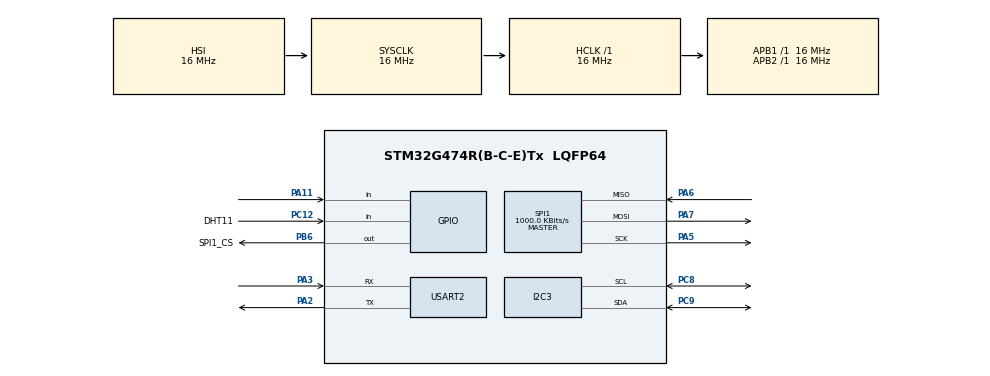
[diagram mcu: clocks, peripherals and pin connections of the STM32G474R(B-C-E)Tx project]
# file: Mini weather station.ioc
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FATFS._MAX_SS=512
I2C3.Timing=0x00503D58
Mcu.Family=STM32G4
Mcu.Name=STM32G474R(B-C-E)Tx
Mcu.Package=LQFP64
NVIC.PriorityGroup=NVIC_PRIORITYGROUP_4
PA11.Signal=GPIO_Input
PA13.Mode=Serial_Wire
PA13.Signal=SYS_JTMS-SWDIO
PA14.Mode=Serial_Wire
PA14.Signal=SYS_JTCK-SWCLK
PA2.Mode=Asynchronous
PA2.Signal=USART2_TX
PA3.Mode=Asynchronous
PA3.Signal=USART2_RX
PA5.Mode=Full_Duplex_Master
PA5.Signal=SPI1_SCK
PA6.Mode=Full_Duplex_Master
PA6.Signal=SPI1_MISO
PA7.Mode=Full_Duplex_Master
PA7.Signal=SPI1_MOSI
PB6.GPIO_Label=SPI1_CS
PB6.GPIO_PuPd=GPIO_PULLUP
PB6.PinState=GPIO_PIN_SET
PB6.Signal=GPIO_Output
PC12.GPIO_Label=DHT11
PC12.Signal=GPIO_Input
PC8.Mode=I2C
PC8.Signal=I2C3_SCL
PC9.Mode=I2C
PC9.Signal=I2C3_SDA
ProjectManager.HeapSize=0x200
ProjectManager.StackSize=0x400
ProjectManager.TargetToolchain=STM32CubeIDE
RCC.ADC12Freq_Value=16000000
RCC.ADC345Freq_Value=16000000
RCC.AHBFreq_Value=16000000
RCC.APB1Freq_Value=16000000
RCC.APB1TimFreq_Value=16000000
RCC.APB2Freq_Value=16000000
RCC.APB2TimFreq_Value=16000000
RCC.CortexFreq_Value=16000000
RCC.EXTERNAL_CLOCK_VALUE=12288000
RCC.HCLKFreq_Value=16000000
RCC.HSE_VALUE=24000000
RCC.HSI48_VALUE=48000000
RCC.HSI_VALUE=16000000
RCC.LSE_VALUE=32768
RCC.PLLM=RCC_PLLM_DIV4
RCC.PLLN=85
RCC.SYSCLKFreq_VALUE=16000000
RCC.USBFreq_Value=170000000
RCC.VCOOutputFreq_Value=340000000
SPI1.BaudRatePrescaler=SPI_BAUDRATEPRESCALER_16
SPI1.CalculateBaudRate=1000.0 KBits/s
SPI1.DataSize=SPI_DATASIZE_8BIT
SPI1.Direction=SPI_DIRECTION_2LINES
SPI1.Mode=SPI_MODE_MASTER
SPI1.VirtualType=VM_MASTER
TIM1.AutoReloadPreload=TIM_AUTORELOAD_PRELOAD_DISABLE
TIM1.Prescaler=16-1
USART2.OverSampling=UART_OVERSAMPLING_16
USART2.VirtualMode-Asynchronous=VM_ASYNC
VP_FATFS_VS_Generic.Mode=User_defined
VP_SYS_VS_DBSignals.Mode=DisableDeadBatterySignals
VP_TIM1_VS_ClockSourceINT.Mode=Internal
board=NUCLEO-G474RE

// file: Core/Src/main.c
/* USER CODE BEGIN Header */
/**
  ******************************************************************************
  * @file           : main.c
  * @brief          : Main program body
  ******************************************************************************
  * @attention
  *
  * Copyright (c) 2025 STMicroelectronics.
  * All rights reserved.
  *
  * This software is licensed under terms that can be found in the LICENSE file
  * in the root directory of this software component.
  * If no LICENSE file comes with this software, it is provided AS-IS.
  *
  ******************************************************************************
  */
/* USER CODE END Header */
#include "main.h"
#include "app_fatfs.h"

/* USER CODE BEGIN Includes */
#include <stdio.h>
#include <string.h>
#include <stdarg.h>
#include "bme280.h"
#include "Sensor_functions.h"
/* USER CODE END Includes */

I2C_HandleTypeDef hi2c3;
SPI_HandleTypeDef hspi1;
TIM_HandleTypeDef htim1;
UART_HandleTypeDef huart2;

void SystemClock_Config(void);
static void MX_GPIO_Init(void);
static void MX_SPI1_Init(void);
static void MX_USART2_UART_Init(void);
static void MX_I2C3_Init(void);
static void MX_TIM1_Init(void);
/* USER CODE BEGIN PFP */
BYTE readBuf[30];
float temperature, humidity, pressure;
struct bme280_dev dev;
struct bme280_data comp_data;
int8_t rslt;
char hum_string[50];
char temp_string[50];
char press_string[50];
char hum_DHT11_string[50];
char temp_DHT11_string[50];
uint8_t Presence, Rh_byte1, Rh_byte2, Temp_byte1, Temp_byte2, SUM;

//some variables for FatFs
FATFS fatfs; 	//Fatfs handle
FIL file; 		//File handle
FRESULT fresult; //Result after operations

/* USER CODE END PFP */

/* USER CODE BEGIN 0 */

int _write(int file, char *ptr, int len)
{
    HAL_UART_Transmit(&huart2, (uint8_t*)ptr, len, HAL_MAX_DELAY);
    return len;
}

//struct DHT_Reading DHT11_strukturalne;
struct DHT_Reading DHT11_strukturalne = {
    .GPIOx = DHT11_GPIO_Port,
    .GPIO_Pin = DHT11_Pin,
    .Set_Pin_Output_struct = Set_Pin_Output_struct,
    .Set_Pin_Input_struct = Set_Pin_Input_struct,
    .delay_struct = delay_struct,
    .DHT11_Start_struct = DHT11_Start_struct,
    .Check_Response_struct = Check_Response_struct,
    .DHT11_Read_struct = DHT11_Read_struct
};

void init_bme280()
{
	dev.dev_id = BME280_I2C_ADDR_PRIM;
	dev.intf = BME280_I2C_INTF;
	dev.read = user_i2c_read;
	dev.write = user_i2c_write;
	dev.delay_ms = user_delay_ms;
    rslt = bme280_init(&dev);
	if (rslt != BME280_OK)
	   {
	    printf("BME280 init error: %d\n", rslt);
	   }
	dev.settings.osr_h = BME280_OVERSAMPLING_1X;
	dev.settings.osr_p = BME280_OVERSAMPLING_16X;
	dev.settings.osr_t = BME280_OVERSAMPLING_2X;
	dev.settings.filter = BME280_FILTER_COEFF_16;
	rslt = bme280_set_sensor_settings(BME280_OSR_PRESS_SEL | BME280_OSR_TEMP_SEL | BME280_OSR_HUM_SEL | BME280_FILTER_SEL, &dev);
}

void SD_mount()
{
	fresult = f_mount(&fatfs, "", 1); //1=mount now
	if (fresult != FR_OK) {
		printf("f_mount error (%i)\r\n", fresult);
	    HAL_Delay(1);
	}
}

void SD_open_file(char name[]){
//Now let's try to open file "test.txt"
	fresult = f_open(&file, name, FA_READ);
if (fresult != FR_OK) {
	printf("f_open error (%i)\r\n", fresult);
	HAL_Delay(1);
}
printf("I was able to open 'test.txt' for reading!\r\n");

}

void SD_read_data(){
//Read 30 bytes from "test.txt" on the SD card
    TCHAR* rres = f_gets((TCHAR*)readBuf, 30, &file);
    if(rres != 0) {
  	printf("Read string from 'test.txt' contents: %s\r\n", readBuf);
    } else {
  	printf("f_gets error (%i)\r\n", fresult);
    }
}

void SD_close_file()
{
	f_close(&file);
}

FRESULT SD_create_new_file(char name[])
{
	fresult = f_open(&file, name, FA_WRITE | FA_CREATE_NEW);
    if(fresult == FR_OK)
    	{
    		printf("New file '%s' created for writing\r\n", name);
    	}
	else
		{
			printf("File existed - datas saved to current file\r\n");
		}
    return fresult;
}

void SD_unmount()
{
	f_mount(NULL, "", 0);
}

void SD_open_file_append(char name[]) {
	fresult = f_open(&file, name, FA_WRITE | FA_OPEN_APPEND);
    if (fresult != FR_OK) {
        printf("f_open error (%i)\r\n", fresult);

    }
    printf("File '%s' opened for appending!\r\n", name);
}

void SD_write_data(char data[]) {
    UINT bytesWrote;
    fresult = f_write(&file, data, strlen(data), &bytesWrote);
    if (fresult == FR_OK) {

    } else {
        printf("f_write error (%i)\r\n", fresult);
    }
}

/* USER CODE END 0 */

int main(void)
{

  /* MCU Configuration--------------------------------------------------------*/

  /* Reset of all peripherals, Initializes the Flash interface and the Systick. */
  HAL_Init();

  /* Configure the system clock */
  SystemClock_Config();

  /* Initialize all configured peripherals */
  MX_GPIO_Init();
  if (MX_FATFS_Init() != APP_OK) {
    Error_Handler();
  }
  MX_SPI1_Init();
  MX_USART2_UART_Init();
  MX_I2C3_Init();
  MX_TIM1_Init();
  /* USER CODE BEGIN 2 */
  HAL_TIM_Base_Start(&htim1);
  init_bme280();
  printf("\r\nMini Weather station\r\n\r\n");
  HAL_Delay(1000); //a short delay is important to let the SD card settle

  /* USER CODE END 2 */

  /* Infinite loop */
  while (1)
  {

    /* USER CODE BEGIN 3 */
	char filename[] = "logs.txt";
;
	rslt = bme280_set_sensor_mode(BME280_FORCED_MODE, &dev);
	if (rslt != BME280_OK) {
	printf("BME280 mode error: %d\n", rslt);
	}
	dev.delay_ms(40);
	rslt = bme280_get_sensor_data(BME280_ALL, &comp_data, &dev);
	if(rslt == BME280_OK)
		{
			temperature = comp_data.temperature / 100.0;
	        humidity = comp_data.humidity / 1024.0;
	        pressure = comp_data.pressure / 10000.0;
            memset(hum_string, 0, sizeof(hum_string));
	        memset(temp_string, 0, sizeof(temp_string));
	        memset(press_string, 0, sizeof(press_string));
            memset(hum_DHT11_string, 0, sizeof(hum_DHT11_string));
	        memset(temp_DHT11_string, 0, sizeof(temp_DHT11_string));
	        printf("Parameters measuremented by bme280: \r\n");
	        sprintf(hum_string, "Humidity: %03.1f %% \n\r", humidity);
	        printf("%s", hum_string);
	        sprintf(temp_string, "Temperature: %03.1f °C \n\r", temperature);
	        printf("%s", temp_string);
	        sprintf(press_string, "Pressure: %03.1f hPa \n\r", pressure);
	        printf("%s", press_string);
	        HAL_Delay(1000);
	        printf("Parameters measuremented by DHT11\n\r");
	        DHT11_strukturalne.DHT11_Start_struct(&DHT11_strukturalne);
            Presence = DHT11_strukturalne.Check_Response_struct(&DHT11_strukturalne);
            Rh_byte1 = DHT11_strukturalne.DHT11_Read_struct(&DHT11_strukturalne);
            Rh_byte2 = DHT11_strukturalne.DHT11_Read_struct(&DHT11_strukturalne);
            Temp_byte1 = DHT11_strukturalne.DHT11_Read_struct(&DHT11_strukturalne);
            Temp_byte2 = DHT11_strukturalne.DHT11_Read_struct(&DHT11_strukturalne);
            SUM = DHT11_strukturalne.DHT11_Read_struct(&DHT11_strukturalne);
            sprintf(hum_DHT11_string, "%u %%\n\r", Rh_byte1);
            sprintf(temp_DHT11_string, "%u°C\n\r", Temp_byte1);
            printf("Humidity: %u %%\n\r", Rh_byte1);
            printf("Temperature: %u°C\n\r", Temp_byte1);
            printf("Saving data on SD card...\n\r");
            HAL_Delay(10);
            SD_mount();
            HAL_Delay(10);
            if (SD_create_new_file(filename) == 8)
            {
            	SD_close_file();
            	SD_open_file_append(filename);
            }
            HAL_Delay(10);
            SD_write_data("Parameters measuremented by DHT11:\n\r");
            SD_write_data("Humidity: ");
            SD_write_data(hum_DHT11_string);
            SD_write_data("Temperature: ");
            SD_write_data(temp_DHT11_string);
            SD_write_data("Parameters measuremented by bme280:\n\r");
            SD_write_data(hum_string);
            SD_write_data("\n");
            SD_write_data(temp_string);
            SD_write_data("\n");
            SD_write_data(press_string);
            SD_write_data("\n");
            SD_close_file(); // Zamknij plik;
            SD_unmount();    // Odmontuj system plików;
            printf("Data saved\r\n");
	     }

	     HAL_Delay(1000);
  }
  /* USER CODE END 3 */
}

void SystemClock_Config(void)
{
  RCC_OscInitTypeDef RCC_OscInitStruct = {0};
  RCC_ClkInitTypeDef RCC_ClkInitStruct = {0};

  /** Configure the main internal regulator output voltage
  */
  HAL_PWREx_ControlVoltageScaling(PWR_REGULATOR_VOLTAGE_SCALE1);

  /** Initializes the RCC Oscillators according to the specified parameters
  * in the RCC_OscInitTypeDef structure.
  */
  RCC_OscInitStruct.OscillatorType = RCC_OSCILLATORTYPE_HSI;
  RCC_OscInitStruct.HSIState = RCC_HSI_ON;
  RCC_OscInitStruct.HSICalibrationValue = RCC_HSICALIBRATION_DEFAULT;
  RCC_OscInitStruct.PLL.PLLState = RCC_PLL_NONE;
  if (HAL_RCC_OscConfig(&RCC_OscInitStruct) != HAL_OK)
  {
    Error_Handler();
  }

  /** Initializes the CPU, AHB and APB buses clocks
  */
  RCC_ClkInitStruct.ClockType = RCC_CLOCKTYPE_HCLK|RCC_CLOCKTYPE_SYSCLK
                              |RCC_CLOCKTYPE_PCLK1|RCC_CLOCKTYPE_PCLK2;
  RCC_ClkInitStruct.SYSCLKSource = RCC_SYSCLKSOURCE_HSI;
  RCC_ClkInitStruct.AHBCLKDivider = RCC_SYSCLK_DIV1;
  RCC_ClkInitStruct.APB1CLKDivider = RCC_HCLK_DIV1;
  RCC_ClkInitStruct.APB2CLKDivider = RCC_HCLK_DIV1;

  if (HAL_RCC_ClockConfig(&RCC_ClkInitStruct, FLASH_LATENCY_0) != HAL_OK)
  {
    Error_Handler();
  }
}

static void MX_I2C3_Init(void)
{

  hi2c3.Instance = I2C3;
  hi2c3.Init.Timing = 0x00503D58;
  hi2c3.Init.OwnAddress1 = 0;
  hi2c3.Init.AddressingMode = I2C_ADDRESSINGMODE_7BIT;
  hi2c3.Init.DualAddressMode = I2C_DUALADDRESS_DISABLE;
  hi2c3.Init.OwnAddress2 = 0;
  hi2c3.Init.OwnAddress2Masks = I2C_OA2_NOMASK;
  hi2c3.Init.GeneralCallMode = I2C_GENERALCALL_DISABLE;
  hi2c3.Init.NoStretchMode = I2C_NOSTRETCH_DISABLE;
  if (HAL_I2C_Init(&hi2c3) != HAL_OK)
  {
    Error_Handler();
  }

  /** Configure Analogue filter
  */
  if (HAL_I2CEx_ConfigAnalogFilter(&hi2c3, I2C_ANALOGFILTER_ENABLE) != HAL_OK)
  {
    Error_Handler();
  }

  /** Configure Digital filter
  */
  if (HAL_I2CEx_ConfigDigitalFilter(&hi2c3, 0) != HAL_OK)
  {
    Error_Handler();
  }

}

static void MX_SPI1_Init(void)
{

  /* SPI1 parameter configuration*/
  hspi1.Instance = SPI1;
  hspi1.Init.Mode = SPI_MODE_MASTER;
  hspi1.Init.Direction = SPI_DIRECTION_2LINES;
  hspi1.Init.DataSize = SPI_DATASIZE_8BIT;
  hspi1.Init.CLKPolarity = SPI_POLARITY_LOW;
  hspi1.Init.CLKPhase = SPI_PHASE_1EDGE;
  hspi1.Init.NSS = SPI_NSS_SOFT;
  hspi1.Init.BaudRatePrescaler = SPI_BAUDRATEPRESCALER_16;
  hspi1.Init.FirstBit = SPI_FIRSTBIT_MSB;
  hspi1.Init.TIMode = SPI_TIMODE_DISABLE;
  hspi1.Init.CRCCalculation = SPI_CRCCALCULATION_DISABLE;
  hspi1.Init.CRCPolynomial = 7;
  hspi1.Init.CRCLength = SPI_CRC_LENGTH_DATASIZE;
  hspi1.Init.NSSPMode = SPI_NSS_PULSE_ENABLE;
  if (HAL_SPI_Init(&hspi1) != HAL_OK)
  {
    Error_Handler();
  }

}

static void MX_TIM1_Init(void)
{

  TIM_ClockConfigTypeDef sClockSourceConfig = {0};
  TIM_MasterConfigTypeDef sMasterConfig = {0};

  htim1.Instance = TIM1;
  htim1.Init.Prescaler = 16-1;
  htim1.Init.CounterMode = TIM_COUNTERMODE_UP;
  htim1.Init.Period = 65535;
  htim1.Init.ClockDivision = TIM_CLOCKDIVISION_DIV1;
  htim1.Init.RepetitionCounter = 0;
  htim1.Init.AutoReloadPreload = TIM_AUTORELOAD_PRELOAD_DISABLE;
  if (HAL_TIM_Base_Init(&htim1) != HAL_OK)
  {
    Error_Handler();
  }
  sClockSourceConfig.ClockSource = TIM_CLOCKSOURCE_INTERNAL;
  if (HAL_TIM_ConfigClockSource(&htim1, &sClockSourceConfig) != HAL_OK)
  {
    Error_Handler();
  }
  sMasterConfig.MasterOutputTrigger = TIM_TRGO_RESET;
  sMasterConfig.MasterOutputTrigger2 = TIM_TRGO2_RESET;
  sMasterConfig.MasterSlaveMode = TIM_MASTERSLAVEMODE_DISABLE;
  if (HAL_TIMEx_MasterConfigSynchronization(&htim1, &sMasterConfig) != HAL_OK)
  {
    Error_Handler();
  }

}

static void MX_USART2_UART_Init(void)
{

  huart2.Instance = USART2;
  huart2.Init.BaudRate = 115200;
  huart2.Init.WordLength = UART_WORDLENGTH_8B;
  huart2.Init.StopBits = UART_STOPBITS_1;
  huart2.Init.Parity = UART_PARITY_NONE;
  huart2.Init.Mode = UART_MODE_TX_RX;
  huart2.Init.HwFlowCtl = UART_HWCONTROL_NONE;
  huart2.Init.OverSampling = UART_OVERSAMPLING_16;
  huart2.Init.OneBitSampling = UART_ONE_BIT_SAMPLE_DISABLE;
  huart2.Init.ClockPrescaler = UART_PRESCALER_DIV1;
  huart2.AdvancedInit.AdvFeatureInit = UART_ADVFEATURE_NO_INIT;
  if (HAL_UART_Init(&huart2) != HAL_OK)
  {
    Error_Handler();
  }
  if (HAL_UARTEx_SetTxFifoThreshold(&huart2, UART_TXFIFO_THRESHOLD_1_8) != HAL_OK)
  {
    Error_Handler();
  }
  if (HAL_UARTEx_SetRxFifoThreshold(&huart2, UART_RXFIFO_THRESHOLD_1_8) != HAL_OK)
  {
    Error_Handler();
  }
  if (HAL_UARTEx_DisableFifoMode(&huart2) != HAL_OK)
  {
    Error_Handler();
  }

}

static void MX_GPIO_Init(void)
{
  GPIO_InitTypeDef GPIO_InitStruct = {0};

  /* GPIO Ports Clock Enable */
  __HAL_RCC_GPIOA_CLK_ENABLE();
  __HAL_RCC_GPIOC_CLK_ENABLE();
  __HAL_RCC_GPIOB_CLK_ENABLE();

  /*Configure GPIO pin Output Level */
  HAL_GPIO_WritePin(SPI1_CS_GPIO_Port, SPI1_CS_Pin, GPIO_PIN_SET);

  /*Configure GPIO pin : PA11 */
  GPIO_InitStruct.Pin = GPIO_PIN_11;
  GPIO_InitStruct.Mode = GPIO_MODE_INPUT;
  GPIO_InitStruct.Pull = GPIO_NOPULL;
  HAL_GPIO_Init(GPIOA, &GPIO_InitStruct);

  /*Configure GPIO pin : DHT11_Pin */
  GPIO_InitStruct.Pin = DHT11_Pin;
  GPIO_InitStruct.Mode = GPIO_MODE_INPUT;
  GPIO_InitStruct.Pull = GPIO_NOPULL;
  HAL_GPIO_Init(DHT11_GPIO_Port, &GPIO_InitStruct);

  /*Configure GPIO pin : SPI1_CS_Pin */
  GPIO_InitStruct.Pin = SPI1_CS_Pin;
  GPIO_InitStruct.Mode = GPIO_MODE_OUTPUT_PP;
  GPIO_InitStruct.Pull = GPIO_PULLUP;
  GPIO_InitStruct.Speed = GPIO_SPEED_FREQ_LOW;
  HAL_GPIO_Init(SPI1_CS_GPIO_Port, &GPIO_InitStruct);

}

void Error_Handler(void)
{
  __disable_irq();
  while (1)
  {
  }
}
